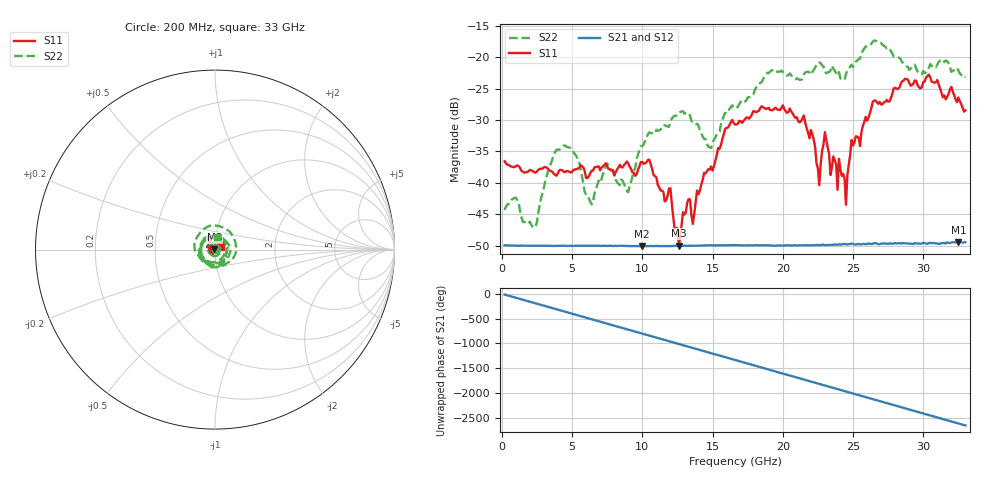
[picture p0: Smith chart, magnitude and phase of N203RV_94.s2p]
# GHZ S RI R 50
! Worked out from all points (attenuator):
!   329 points, 200 MHz to 33 GHz, reference 50 ohm
!   highest |S21| = -49.42 dB at 32.5 GHz (marker M1); lowest = -50.1 dB at 10 GHz (marker M2)
!   lowest |S11| = -50.0 dB at 12.6 GHz (marker M3), VSWR 1.01, Z = 49.7 + j0.136 ohm
!   |S11| at or under -10 dB: start of sweep to end of sweep
!   |S22| runs from -47.2 to -17.4 dB; largest |S21 - S12| = 7.2e-05
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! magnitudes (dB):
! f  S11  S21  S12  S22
! 200 MHz  -36.6  -50.0  -50.0  -44.4
! 2.4 GHz  -38.4  -50.0  -50.0  -47.0
! 4.4 GHz  -38.2  -50.0  -50.0  -34.1
! 5.7 GHz  -37.3  -50.0  -50.0  -38.9
! 6.4 GHz  -38.1  -50.0  -50.0  -43.5
! 7.5 GHz  -37.4  -50.1  -50.1  -36.9
! 9 GHz  -36.9  -50.1  -50.0  -41.5
! 10 GHz  -36.7  -50.1  -50.1  -34.2
! 11.2 GHz  -40.7  -50.1  -50.1  -31.7
! 12 GHz  -40.9  -50.1  -50.1  -30.4
! 12.6 GHz  -50.0  -50.1  -50.0  -28.9
! 14.9 GHz  -37.4  -50.0  -49.9  -34.5
! 16.6 GHz  -30.7  -49.9  -49.9  -28.2
! 20 GHz  -27.7  -50.0  -49.9  -22.3
! 22.1 GHz  -32.2  -49.9  -49.9  -22.4
! 22.6 GHz  -40.4  -49.9  -49.9  -20.9
! 23 GHz  -32.0  -49.9  -49.9  -22.3
! 24.5 GHz  -43.5  -49.8  -49.8  -22.7
! 24.9 GHz  -33.2  -49.7  -49.7  -21.2
! 27.6 GHz  -27.1  -49.6  -49.7  -18.7
! 32.5 GHz  -26.4  -49.4  -49.5  -22.1
! 33 GHz  -28.5  -49.5  -49.5  -23.2
